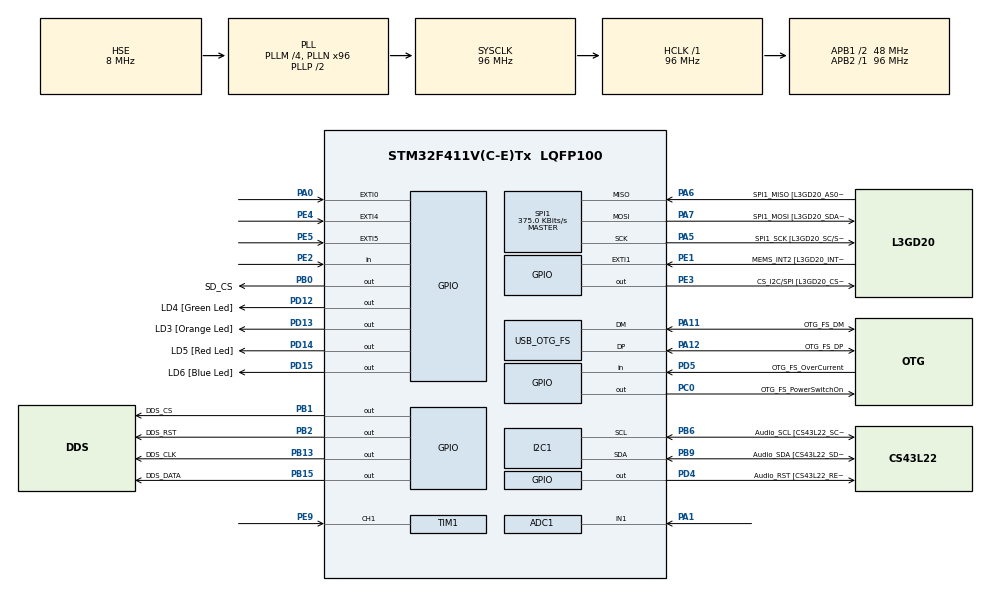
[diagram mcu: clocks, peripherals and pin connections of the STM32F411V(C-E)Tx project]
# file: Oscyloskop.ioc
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ADC1.Channel-2\#ChannelRegularConversion=ADC_CHANNEL_1
ADC1.ContinuousConvMode=ENABLE
ADC1.DMAContinuousRequests=ENABLE
ADC1.NbrOfConversionFlag=1
ADC1.Rank-2\#ChannelRegularConversion=1
ADC1.SamplingTime-2\#ChannelRegularConversion=ADC_SAMPLETIME_480CYCLES
ADC1.master=1
Dma.ADC1.0.Direction=DMA_PERIPH_TO_MEMORY
Dma.ADC1.0.FIFOMode=DMA_FIFOMODE_DISABLE
Dma.ADC1.0.Instance=DMA2_Stream0
Dma.ADC1.0.MemDataAlignment=DMA_MDATAALIGN_HALFWORD
Dma.ADC1.0.MemInc=DMA_MINC_ENABLE
Dma.ADC1.0.Mode=DMA_CIRCULAR
Dma.ADC1.0.PeriphDataAlignment=DMA_PDATAALIGN_HALFWORD
Dma.ADC1.0.PeriphInc=DMA_PINC_DISABLE
Dma.ADC1.0.Priority=DMA_PRIORITY_LOW
Dma.Request0=ADC1
Mcu.Family=STM32F4
Mcu.Name=STM32F411V(C-E)Tx
Mcu.Package=LQFP100
NVIC.DMA2_Stream0_IRQn=true\:0\:0\:false\:false\:true\:false\:true\:true
NVIC.OTG_FS_IRQn=true\:0\:0\:false\:false\:true\:false\:true\:true
NVIC.PriorityGroup=NVIC_PRIORITYGROUP_0
NVIC.TIM1_CC_IRQn=true\:0\:0\:false\:false\:true\:true\:true\:true
PA0-WKUP.GPIO_ModeDefaultEXTI=GPIO_MODE_EVT_RISING
PA0-WKUP.Signal=GPXTI0
PA1.Signal=ADCx_IN1
PA10.GPIO_Label=OTG_FS_ID
PA10.Signal=USB_OTG_FS_ID
PA11.GPIO_Label=OTG_FS_DM
PA11.Mode=Device_Only
PA11.Signal=USB_OTG_FS_DM
PA12.GPIO_Label=OTG_FS_DP
PA12.Mode=Device_Only
PA12.Signal=USB_OTG_FS_DP
PA13.GPIO_Label=SWDIO
PA13.Mode=Serial_Wire
PA13.Signal=SYS_JTMS-SWDIO
PA14.GPIO_Label=SWCLK
PA14.Mode=Serial_Wire
PA14.Signal=SYS_JTCK-SWCLK
PA4.GPIO_Label=I2S3_WS [CS43L22_LRCK]
PA4.GPIO_Mode=GPIO_MODE_AF_PP
PA4.GPIO_PuPd=GPIO_NOPULL
PA4.GPIO_Speed=GPIO_SPEED_FREQ_LOW
PA4.Signal=I2S3_WS
PA5.GPIO_Label=SPI1_SCK [L3GD20_SC/SPC]
PA5.Mode=Full_Duplex_Master
PA5.Signal=SPI1_SCK
PA6.GPIO_Label=SPI1_MISO [L3GD20_AS0/SDO]
PA6.Mode=Full_Duplex_Master
PA6.Signal=SPI1_MISO
PA7.GPIO_Label=SPI1_MOSI [L3GD20_SDA/SDI/SDO]
PA7.Mode=Full_Duplex_Master
PA7.Signal=SPI1_MOSI
PA9.GPIO_Label=VBUS_FS
PA9.Signal=USB_OTG_FS_VBUS
PB0.GPIO_Label=SD_CS
PB0.Signal=GPIO_Output
PB1.GPIO_Label=DDS_CS
PB1.Signal=GPIO_Output
PB10.GPIO_Label=CLK_IN [MP45DT02_CLK]
PB10.Signal=I2S2_CK
PB12.Signal=I2S2_WS
PB13.GPIO_Label=DDS_CLK
PB13.Signal=GPIO_Output
PB15.GPIO_Label=DDS_DATA
PB15.Signal=GPIO_Output
PB2.GPIO_Label=DDS_RST
PB2.Signal=GPIO_Output
PB3.GPIO_Label=SWO
PB3.Signal=SYS_JTDO-SWO
PB6.GPIO_Label=Audio_SCL [CS43L22_SCL]
PB6.GPIO_Mode=GPIO_MODE_AF_OD
PB6.GPIO_PuPd=GPIO_NOPULL
PB6.GPIO_Speed=GPIO_SPEED_FREQ_LOW
PB6.Mode=I2C
PB6.Signal=I2C1_SCL
PB9.GPIO_Label=Audio_SDA [CS43L22_SDA]
PB9.GPIO_Mode=GPIO_MODE_AF_OD
PB9.GPIO_PuPd=GPIO_NOPULL
PB9.GPIO_Speed=GPIO_SPEED_FREQ_LOW
PB9.Mode=I2C
PB9.Signal=I2C1_SDA
PC0.GPIO_Label=OTG_FS_PowerSwitchOn
PC0.PinState=GPIO_PIN_SET
PC0.Signal=GPIO_Output
PC10.GPIO_Label=I2S3_SCK [CS43L22_SCLK]
PC10.GPIO_Mode=GPIO_MODE_AF_PP
PC10.GPIO_PuPd=GPIO_NOPULL
PC10.GPIO_Speed=GPIO_SPEED_FREQ_LOW
PC10.Signal=I2S3_CK
PC12.GPIO_Label=I2S3_SD [CS43L22_SDIN]
PC12.GPIO_Mode=GPIO_MODE_AF_PP
PC12.GPIO_PuPd=GPIO_NOPULL
PC12.GPIO_Speed=GPIO_SPEED_FREQ_LOW
PC12.Signal=I2S3_SD
PC14-OSC32_IN.GPIO_Label=PC14-OSC32_IN
PC14-OSC32_IN.Signal=RCC_OSC32_IN
PC15-OSC32_OUT.GPIO_Label=PC15-OSC32_OUT
PC15-OSC32_OUT.Signal=RCC_OSC32_OUT
PC3.GPIO_Label=PDM_OUT [MP45DT02_DOUT]
PC3.Signal=I2S2_SD
PC7.GPIO_Label=I2S3_MCK [CS43L22_MCLK]
PC7.GPIO_Mode=GPIO_MODE_AF_PP
PC7.GPIO_PuPd=GPIO_NOPULL
PC7.GPIO_Speed=GPIO_SPEED_FREQ_LOW
PC7.Signal=I2S3_MCK
PD12.GPIO_Label=LD4 [Green Led]
PD12.GPIO_PuPd=GPIO_NOPULL
PD12.GPIO_Speed=GPIO_SPEED_FREQ_LOW
PD12.Signal=GPIO_Output
PD13.GPIO_Label=LD3 [Orange Led]
PD13.GPIO_PuPd=GPIO_NOPULL
PD13.GPIO_Speed=GPIO_SPEED_FREQ_LOW
PD13.Signal=GPIO_Output
PD14.GPIO_Label=LD5 [Red Led]
PD14.GPIO_PuPd=GPIO_NOPULL
PD14.GPIO_Speed=GPIO_SPEED_FREQ_LOW
PD14.Signal=GPIO_Output
PD15.GPIO_Label=LD6 [Blue Led]
PD15.GPIO_PuPd=GPIO_NOPULL
PD15.GPIO_Speed=GPIO_SPEED_FREQ_LOW
PD15.Signal=GPIO_Output
PD4.GPIO_Label=Audio_RST [CS43L22_RESET]
PD4.Signal=GPIO_Output
PD5.GPIO_Label=OTG_FS_OverCurrent
PD5.Signal=GPIO_Input
PE1.GPIO_Label=MEMS_INT2 [L3GD20_INT2]
PE1.GPIO_ModeDefaultEXTI=GPIO_MODE_EVT_RISING
PE1.Signal=GPXTI1
PE2.Signal=GPIO_Input
PE3.GPIO_Label=CS_I2C/SPI [L3GD20_CS_I2C/SPI]
PE3.Signal=GPIO_Output
PE4.GPIO_ModeDefaultEXTI=GPIO_MODE_EVT_RISING
PE4.Signal=GPXTI4
PE5.GPIO_ModeDefaultEXTI=GPIO_MODE_EVT_RISING
PE5.Signal=GPXTI5
PE9.Signal=S_TIM1_CH1
PH0\ -\ OSC_IN.GPIO_Label=PH0-OSC_IN
PH0\ -\ OSC_IN.Mode=HSE-External-Oscillator
PH0\ -\ OSC_IN.Signal=RCC_OSC_IN
PH1\ -\ OSC_OUT.GPIO_Label=PH1-OSC_OUT
PH1\ -\ OSC_OUT.Mode=HSE-External-Oscillator
PH1\ -\ OSC_OUT.Signal=RCC_OSC_OUT
ProjectManager.HeapSize=0x200
ProjectManager.StackSize=0x400
ProjectManager.TargetToolchain=STM32CubeIDE
RCC.48MHZClocksFreq_Value=48000000
RCC.AHBFreq_Value=96000000
RCC.APB1CLKDivider=RCC_HCLK_DIV2
RCC.APB1Freq_Value=48000000
RCC.APB1TimFreq_Value=96000000
RCC.APB2Freq_Value=96000000
RCC.APB2TimFreq_Value=96000000
RCC.CortexFreq_Value=96000000
RCC.HCLKFreq_Value=96000000
RCC.HSE_VALUE=8000000
RCC.HSI_VALUE=16000000
RCC.LSE_VALUE=32768
RCC.PLLI2SM=5
RCC.PLLI2SN=200
RCC.PLLM=4
RCC.PLLN=96
RCC.SYSCLKFreq_VALUE=96000000
RCC.SYSCLKSource=RCC_SYSCLKSOURCE_PLLCLK
RCC.VCOOutputFreq_Value=192000000
SH.ADCx_IN1.0=ADC1_IN1,IN1
SH.S_TIM1_CH1.0=TIM1_CH1,Input_Capture1_from_TI1
SPI1.BaudRatePrescaler=SPI_BAUDRATEPRESCALER_256
SPI1.CalculateBaudRate=375.0 KBits/s
SPI1.Direction=SPI_DIRECTION_2LINES
SPI1.Mode=SPI_MODE_MASTER
SPI1.VirtualType=VM_MASTER
TIM1.Channel-Input_Capture1_from_TI1=TIM_CHANNEL_1
TIM1.Prescaler=99
USB_DEVICE.CLASS_NAME_FS=CDC
USB_DEVICE.VirtualMode=Cdc
USB_DEVICE.VirtualModeFS=Cdc_FS
USB_OTG_FS.VirtualMode=Device_Only
VP_FATFS_VS_Generic.Mode=User_defined
VP_TIM1_VS_ClockSourceINT.Mode=Internal
VP_USB_DEVICE_VS_USB_DEVICE_CDC_FS.Mode=CDC_FS
board=STM32F411E-DISCO

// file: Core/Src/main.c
/* USER CODE BEGIN Header */
/**
  ******************************************************************************
  * @file           : main.c
  * @brief          : Main program body
  ******************************************************************************
  */
/* USER CODE END Header */
#include "main.h"
#include "fatfs.h"
#include "usb_device.h"

/* USER CODE BEGIN Includes */
#include "adc_dma.h"
#include "usbd_cdc_if.h"
#include "trigger.h"
#include "dds_ad9850.h"
#include "lcd_i2c.h"
#include <string.h>
#include <stdio.h>
#include <stdlib.h>
#include "fatfs.h"
/* USER CODE END Includes */

ADC_HandleTypeDef hadc1;
DMA_HandleTypeDef hdma_adc1;

I2C_HandleTypeDef hi2c1;

SPI_HandleTypeDef hspi1;

TIM_HandleTypeDef htim1;

/* USER CODE BEGIN PV */
Trigger_t trigger;
uint8_t gui_polaczone = 0;
float aktualna_freq = 1000.0f;
uint8_t aktualny_typ = 0;
volatile uint8_t single_mode = 0;     // 1 = single, 0 = ciągły
volatile uint8_t single_zatrzasniety = 0;  // 1 = już złapaliśmy, czekamy na Run
FATFS fs;          // system plików
FIL fil;           // uchwyt pliku
FRESULT fres;      // wynik operacji
char sd_bufor[64]; // bufor pomocniczy
/* USER CODE END PV */

void SystemClock_Config(void);
static void MX_GPIO_Init(void);
static void MX_DMA_Init(void);
static void MX_ADC1_Init(void);
static void MX_I2C1_Init(void);
static void MX_TIM1_Init(void);
static void MX_SPI1_Init(void);

int main(void)
{

  /* MCU Configuration--------------------------------------------------------*/

  /* Reset of all peripherals, Initializes the Flash interface and the Systick. */
  HAL_Init();

  /* Configure the system clock */
  SystemClock_Config();

  /* Initialize all configured peripherals */
  MX_GPIO_Init();
  MX_DMA_Init();
  MX_ADC1_Init();
  MX_USB_DEVICE_Init();
  MX_I2C1_Init();
  MX_TIM1_Init();
  MX_FATFS_Init();
  MX_SPI1_Init();
  /* USER CODE BEGIN 2 */
  Trigger_Init(&trigger, TRIG_NONE, 0);
  HAL_Delay(500);
  DDS_Init();
  DDS_SetFrequency(1000.0f, 0);
  LCD_Init();
  LCD_SetCursor(0, 0);
  LCD_Print("Oscyloskop STM");
  LCD_SetCursor(1, 0);
  LCD_Print("Wlacz gui     ");
  HAL_GPIO_WritePin(GPIOD, GPIO_PIN_12, GPIO_PIN_SET);
  HAL_Delay(2000);
  ADC_DMA_Start();
  /* USER CODE END 2 */

  /* Infinite loop */
  /* USER CODE BEGIN WHILE */
  while (1)
      {
        if (flaga_polowa) ADC_DMA_Przetworz_Polowe();
        if (flaga_pelny) ADC_DMA_Przetworz_Pelny();

        if (komenda_gotowa)
        {
            // HELLO - GUI się łączy
            if (komenda_bufor[0] == 'H' && komenda_bufor[1] == 'E' &&
                komenda_bufor[2] == 'L' && komenda_bufor[3] == 'L' &&
                komenda_bufor[4] == 'O')
            {
                if (!gui_polaczone)
                {
                    gui_polaczone = 1;
                    LCD_Clear();
                    LCD_SetCursor(0, 0);
                    LCD_Print("F:1000Hz SIN");
                    LCD_SetCursor(1, 0);
                    LCD_Print("GUI polaczone");
                }
            }

            // FREQ:1000 - ustaw częstotliwość
            if (komenda_bufor[0] == 'F' && komenda_bufor[1] == 'R' &&
                komenda_bufor[2] == 'E' && komenda_bufor[3] == 'Q' &&
                komenda_bufor[4] == ':')
            {
                aktualna_freq = atof((char*)&komenda_bufor[5]);
                DDS_SetFrequency(aktualna_freq, aktualny_typ);

                char bufor_lcd[17];
                char* typ_str = (aktualny_typ == 0) ? "SIN" : "SQR";
                snprintf(bufor_lcd, 17, "F:%dHz %s   ", (int)aktualna_freq, typ_str);
                LCD_SetCursor(0, 0);
                LCD_Print(bufor_lcd);
            }

            // WAVE:0/1 - typ fali
            if (komenda_bufor[0] == 'W' && komenda_bufor[1] == 'A' &&
                komenda_bufor[2] == 'V' && komenda_bufor[3] == 'E' &&
                komenda_bufor[4] == ':')
            {
                aktualny_typ = komenda_bufor[5] - '0';
                DDS_SetFrequency(aktualna_freq, aktualny_typ);

                char bufor_lcd[17];
                char* typ_str = (aktualny_typ == 0) ? "SIN" : "SQR";
                snprintf(bufor_lcd, 17, "F:%dHz %s   ", (int)aktualna_freq, typ_str);
                LCD_SetCursor(0, 0);
                LCD_Print(bufor_lcd);
            }

            // TRIG:N / TRIG:R:2048 / TRIG:F:2048
            if (komenda_bufor[0] == 'T' && komenda_bufor[1] == 'R' &&
                komenda_bufor[2] == 'I' && komenda_bufor[3] == 'G' &&
                komenda_bufor[4] == ':')
            {
                if (komenda_bufor[5] == 'N')
                    Trigger_Init(&trigger, TRIG_NONE, 0);
                else if (komenda_bufor[5] == 'R' && komenda_bufor[6] == ':')
                    Trigger_Init(&trigger, TRIG_RISING, atoi((char*)&komenda_bufor[7]));
                else if (komenda_bufor[5] == 'F' && komenda_bufor[6] == ':')
                    Trigger_Init(&trigger, TRIG_FALLING, atoi((char*)&komenda_bufor[7]));
            }

            // BYE - GUI się rozłącza
            if (komenda_bufor[0] == 'B' && komenda_bufor[1] == 'Y' && komenda_bufor[2] == 'E')
            {
                gui_polaczone = 0;
                LCD_Clear();
                LCD_SetCursor(0, 0);
                LCD_Print("Oscyloskop STM");
                LCD_SetCursor(1, 0);
                LCD_Print("Rozlaczono");
            }

            // SAVE - zapisz próbki ADC na kartę SD
            if (komenda_bufor[0] == 'S' && komenda_bufor[1] == 'A' &&
                komenda_bufor[2] == 'V' && komenda_bufor[3] == 'E')
            {
                LCD_Clear();
                LCD_SetCursor(0, 0);
                LCD_Print("Zapisywanie...");
                LCD_SetCursor(1, 0);
                LCD_Print("Czekaj..");

                fres = f_mount(&fs, "", 1);
                if (fres == FR_OK)
                {
                    fres = f_open(&fil, "probki.csv", FA_CREATE_ALWAYS | FA_WRITE);
                    if (fres == FR_OK)
                    {
                        f_puts("# Probki ADC z oscyloskopu STM32\n", &fil);
                        f_puts("wartosc\n", &fil);

                        for (uint16_t i = 0; i < ADC_BUFOR_ROZMIAR; i++)
                        {
                            snprintf(sd_bufor, 64, "%u\n", bufor_adc[i]);
                            f_puts(sd_bufor, &fil);
                        }

                        f_close(&fil);

                        LCD_Clear();
                        LCD_SetCursor(0, 0);
                        LCD_Print("Zapis OK!");
                        LCD_SetCursor(1, 0);
                        LCD_Print("probki.csv");
                        HAL_Delay(2000);

                        char* typ_str = (aktualny_typ == 0) ? "SIN" : "SQR";
                        snprintf(sd_bufor, 17, "F:%dHz %s   ", (int)aktualna_freq, typ_str);
                        LCD_Clear();
                        LCD_SetCursor(0, 0);
                        LCD_Print(sd_bufor);
                        LCD_SetCursor(1, 0);
                        LCD_Print("GUI polaczone");
                    }
                    else
                    {
                        LCD_Clear();
                        LCD_SetCursor(0, 0);
                        LCD_Print("Blad otwarcia");
                        LCD_SetCursor(1, 0);
                        snprintf(sd_bufor, 17, "pliku (kod %d)", fres);
                        LCD_Print(sd_bufor);
                    }
                    f_mount(NULL, "", 0);
                }
                else
                {
                    LCD_Clear();
                    LCD_SetCursor(0, 0);
                    LCD_Print("Blad karty SD");
                    LCD_SetCursor(1, 0);
                    snprintf(sd_bufor, 17, "kod: %d", fres);
                    LCD_Print(sd_bufor);
                }
            }

            komenda_gotowa = 0;
        }
    /* USER CODE END WHILE */

      }
}

void SystemClock_Config(void)
{
  RCC_OscInitTypeDef RCC_OscInitStruct = {0};
  RCC_ClkInitTypeDef RCC_ClkInitStruct = {0};

  /** Configure the main internal regulator output voltage
  */
  __HAL_RCC_PWR_CLK_ENABLE();
  __HAL_PWR_VOLTAGESCALING_CONFIG(PWR_REGULATOR_VOLTAGE_SCALE1);

  /** Initializes the RCC Oscillators according to the specified parameters
  * in the RCC_OscInitTypeDef structure.
  */
  RCC_OscInitStruct.OscillatorType = RCC_OSCILLATORTYPE_HSE;
  RCC_OscInitStruct.HSEState = RCC_HSE_ON;
  RCC_OscInitStruct.PLL.PLLState = RCC_PLL_ON;
  RCC_OscInitStruct.PLL.PLLSource = RCC_PLLSOURCE_HSE;
  RCC_OscInitStruct.PLL.PLLM = 4;
  RCC_OscInitStruct.PLL.PLLN = 96;
  RCC_OscInitStruct.PLL.PLLP = RCC_PLLP_DIV2;
  RCC_OscInitStruct.PLL.PLLQ = 4;
  if (HAL_RCC_OscConfig(&RCC_OscInitStruct) != HAL_OK)
  {
    Error_Handler();
  }

  /** Initializes the CPU, AHB and APB buses clocks
  */
  RCC_ClkInitStruct.ClockType = RCC_CLOCKTYPE_HCLK|RCC_CLOCKTYPE_SYSCLK
                              |RCC_CLOCKTYPE_PCLK1|RCC_CLOCKTYPE_PCLK2;
  RCC_ClkInitStruct.SYSCLKSource = RCC_SYSCLKSOURCE_PLLCLK;
  RCC_ClkInitStruct.AHBCLKDivider = RCC_SYSCLK_DIV1;
  RCC_ClkInitStruct.APB1CLKDivider = RCC_HCLK_DIV2;
  RCC_ClkInitStruct.APB2CLKDivider = RCC_HCLK_DIV1;

  if (HAL_RCC_ClockConfig(&RCC_ClkInitStruct, FLASH_LATENCY_3) != HAL_OK)
  {
    Error_Handler();
  }
}

static void MX_ADC1_Init(void)
{

  ADC_ChannelConfTypeDef sConfig = {0};

  /** Configure the global features of the ADC (Clock, Resolution, Data Alignment and number of conversion)
  */
  hadc1.Instance = ADC1;
  hadc1.Init.ClockPrescaler = ADC_CLOCK_SYNC_PCLK_DIV4;
  hadc1.Init.Resolution = ADC_RESOLUTION_12B;
  hadc1.Init.ScanConvMode = DISABLE;
  hadc1.Init.ContinuousConvMode = ENABLE;
  hadc1.Init.DiscontinuousConvMode = DISABLE;
  hadc1.Init.ExternalTrigConvEdge = ADC_EXTERNALTRIGCONVEDGE_NONE;
  hadc1.Init.ExternalTrigConv = ADC_SOFTWARE_START;
  hadc1.Init.DataAlign = ADC_DATAALIGN_RIGHT;
  hadc1.Init.NbrOfConversion = 1;
  hadc1.Init.DMAContinuousRequests = ENABLE;
  hadc1.Init.EOCSelection = ADC_EOC_SINGLE_CONV;
  if (HAL_ADC_Init(&hadc1) != HAL_OK)
  {
    Error_Handler();
  }

  /** Configure for the selected ADC regular channel its corresponding rank in the sequencer and its sample time.
  */
  sConfig.Channel = ADC_CHANNEL_1;
  sConfig.Rank = 1;
  sConfig.SamplingTime = ADC_SAMPLETIME_480CYCLES;
  if (HAL_ADC_ConfigChannel(&hadc1, &sConfig) != HAL_OK)
  {
    Error_Handler();
  }

}

static void MX_I2C1_Init(void)
{

  hi2c1.Instance = I2C1;
  hi2c1.Init.ClockSpeed = 100000;
  hi2c1.Init.DutyCycle = I2C_DUTYCYCLE_2;
  hi2c1.Init.OwnAddress1 = 0;
  hi2c1.Init.AddressingMode = I2C_ADDRESSINGMODE_7BIT;
  hi2c1.Init.DualAddressMode = I2C_DUALADDRESS_DISABLE;
  hi2c1.Init.OwnAddress2 = 0;
  hi2c1.Init.GeneralCallMode = I2C_GENERALCALL_DISABLE;
  hi2c1.Init.NoStretchMode = I2C_NOSTRETCH_DISABLE;
  if (HAL_I2C_Init(&hi2c1) != HAL_OK)
  {
    Error_Handler();
  }

}

static void MX_SPI1_Init(void)
{

  /* SPI1 parameter configuration*/
  hspi1.Instance = SPI1;
  hspi1.Init.Mode = SPI_MODE_MASTER;
  hspi1.Init.Direction = SPI_DIRECTION_2LINES;
  hspi1.Init.DataSize = SPI_DATASIZE_8BIT;
  hspi1.Init.CLKPolarity = SPI_POLARITY_LOW;
  hspi1.Init.CLKPhase = SPI_PHASE_1EDGE;
  hspi1.Init.NSS = SPI_NSS_SOFT;
  hspi1.Init.BaudRatePrescaler = SPI_BAUDRATEPRESCALER_256;
  hspi1.Init.FirstBit = SPI_FIRSTBIT_MSB;
  hspi1.Init.TIMode = SPI_TIMODE_DISABLE;
  hspi1.Init.CRCCalculation = SPI_CRCCALCULATION_DISABLE;
  hspi1.Init.CRCPolynomial = 10;
  if (HAL_SPI_Init(&hspi1) != HAL_OK)
  {
    Error_Handler();
  }

}

static void MX_TIM1_Init(void)
{

  TIM_ClockConfigTypeDef sClockSourceConfig = {0};
  TIM_MasterConfigTypeDef sMasterConfig = {0};
  TIM_IC_InitTypeDef sConfigIC = {0};

  htim1.Instance = TIM1;
  htim1.Init.Prescaler = 99;
  htim1.Init.CounterMode = TIM_COUNTERMODE_UP;
  htim1.Init.Period = 65535;
  htim1.Init.ClockDivision = TIM_CLOCKDIVISION_DIV1;
  htim1.Init.RepetitionCounter = 0;
  htim1.Init.AutoReloadPreload = TIM_AUTORELOAD_PRELOAD_DISABLE;
  if (HAL_TIM_Base_Init(&htim1) != HAL_OK)
  {
    Error_Handler();
  }
  sClockSourceConfig.ClockSource = TIM_CLOCKSOURCE_INTERNAL;
  if (HAL_TIM_ConfigClockSource(&htim1, &sClockSourceConfig) != HAL_OK)
  {
    Error_Handler();
  }
  if (HAL_TIM_IC_Init(&htim1) != HAL_OK)
  {
    Error_Handler();
  }
  sMasterConfig.MasterOutputTrigger = TIM_TRGO_RESET;
  sMasterConfig.MasterSlaveMode = TIM_MASTERSLAVEMODE_DISABLE;
  if (HAL_TIMEx_MasterConfigSynchronization(&htim1, &sMasterConfig) != HAL_OK)
  {
    Error_Handler();
  }
  sConfigIC.ICPolarity = TIM_INPUTCHANNELPOLARITY_RISING;
  sConfigIC.ICSelection = TIM_ICSELECTION_DIRECTTI;
  sConfigIC.ICPrescaler = TIM_ICPSC_DIV1;
  sConfigIC.ICFilter = 0;
  if (HAL_TIM_IC_ConfigChannel(&htim1, &sConfigIC, TIM_CHANNEL_1) != HAL_OK)
  {
    Error_Handler();
  }

}

static void MX_DMA_Init(void)
{

  /* DMA controller clock enable */
  __HAL_RCC_DMA2_CLK_ENABLE();

  /* DMA interrupt init */
  /* DMA2_Stream0_IRQn interrupt configuration */
  HAL_NVIC_SetPriority(DMA2_Stream0_IRQn, 0, 0);
  HAL_NVIC_EnableIRQ(DMA2_Stream0_IRQn);

}

static void MX_GPIO_Init(void)
{
  GPIO_InitTypeDef GPIO_InitStruct = {0};

  /* GPIO Ports Clock Enable */
  __HAL_RCC_GPIOE_CLK_ENABLE();
  __HAL_RCC_GPIOC_CLK_ENABLE();
  __HAL_RCC_GPIOH_CLK_ENABLE();
  __HAL_RCC_GPIOA_CLK_ENABLE();
  __HAL_RCC_GPIOB_CLK_ENABLE();
  __HAL_RCC_GPIOD_CLK_ENABLE();

  /*Configure GPIO pin Output Level */
  HAL_GPIO_WritePin(CS_I2C_SPI_GPIO_Port, CS_I2C_SPI_Pin, GPIO_PIN_RESET);

  /*Configure GPIO pin Output Level */
  HAL_GPIO_WritePin(OTG_FS_PowerSwitchOn_GPIO_Port, OTG_FS_PowerSwitchOn_Pin, GPIO_PIN_SET);

  /*Configure GPIO pin Output Level */
  HAL_GPIO_WritePin(GPIOB, SD_CS_Pin|DDS_CS_Pin|DDS_RST_Pin|DDS_CLK_Pin
                          |DDS_DATA_Pin, GPIO_PIN_RESET);

  /*Configure GPIO pin Output Level */
  HAL_GPIO_WritePin(GPIOD, LD4_Pin|LD3_Pin|LD5_Pin|LD6_Pin
                          |Audio_RST_Pin, GPIO_PIN_RESET);

  /*Configure GPIO pin : PE2 */
  GPIO_InitStruct.Pin = GPIO_PIN_2;
  GPIO_InitStruct.Mode = GPIO_MODE_INPUT;
  GPIO_InitStruct.Pull = GPIO_NOPULL;
  HAL_GPIO_Init(GPIOE, &GPIO_InitStruct);

  /*Configure GPIO pin : CS_I2C_SPI_Pin */
  GPIO_InitStruct.Pin = CS_I2C_SPI_Pin;
  GPIO_InitStruct.Mode = GPIO_MODE_OUTPUT_PP;
  GPIO_InitStruct.Pull = GPIO_NOPULL;
  GPIO_InitStruct.Speed = GPIO_SPEED_FREQ_LOW;
  HAL_GPIO_Init(CS_I2C_SPI_GPIO_Port, &GPIO_InitStruct);

  /*Configure GPIO pins : PE4 PE5 MEMS_INT2_Pin */
  GPIO_InitStruct.Pin = GPIO_PIN_4|GPIO_PIN_5|MEMS_INT2_Pin;
  GPIO_InitStruct.Mode = GPIO_MODE_EVT_RISING;
  GPIO_InitStruct.Pull = GPIO_NOPULL;
  HAL_GPIO_Init(GPIOE, &GPIO_InitStruct);

  /*Configure GPIO pin : OTG_FS_PowerSwitchOn_Pin */
  GPIO_InitStruct.Pin = OTG_FS_PowerSwitchOn_Pin;
  GPIO_InitStruct.Mode = GPIO_MODE_OUTPUT_PP;
  GPIO_InitStruct.Pull = GPIO_NOPULL;
  GPIO_InitStruct.Speed = GPIO_SPEED_FREQ_LOW;
  HAL_GPIO_Init(OTG_FS_PowerSwitchOn_GPIO_Port, &GPIO_InitStruct);

  /*Configure GPIO pin : PDM_OUT_Pin */
  GPIO_InitStruct.Pin = PDM_OUT_Pin;
  GPIO_InitStruct.Mode = GPIO_MODE_AF_PP;
  GPIO_InitStruct.Pull = GPIO_NOPULL;
  GPIO_InitStruct.Speed = GPIO_SPEED_FREQ_LOW;
  GPIO_InitStruct.Alternate = GPIO_AF5_SPI2;
  HAL_GPIO_Init(PDM_OUT_GPIO_Port, &GPIO_InitStruct);

  /*Configure GPIO pin : PA0 */
  GPIO_InitStruct.Pin = GPIO_PIN_0;
  GPIO_InitStruct.Mode = GPIO_MODE_EVT_RISING;
  GPIO_InitStruct.Pull = GPIO_NOPULL;
  HAL_GPIO_Init(GPIOA, &GPIO_InitStruct);

  /*Configure GPIO pin : I2S3_WS_Pin */
  GPIO_InitStruct.Pin = I2S3_WS_Pin;
  GPIO_InitStruct.Mode = GPIO_MODE_AF_PP;
  GPIO_InitStruct.Pull = GPIO_NOPULL;
  GPIO_InitStruct.Speed = GPIO_SPEED_FREQ_LOW;
  GPIO_InitStruct.Alternate = GPIO_AF6_SPI3;
  HAL_GPIO_Init(I2S3_WS_GPIO_Port, &GPIO_InitStruct);

  /*Configure GPIO pins : SD_CS_Pin DDS_CS_Pin DDS_RST_Pin DDS_CLK_Pin
                           DDS_DATA_Pin */
  GPIO_InitStruct.Pin = SD_CS_Pin|DDS_CS_Pin|DDS_RST_Pin|DDS_CLK_Pin
                          |DDS_DATA_Pin;
  GPIO_InitStruct.Mode = GPIO_MODE_OUTPUT_PP;
  GPIO_InitStruct.Pull = GPIO_NOPULL;
  GPIO_InitStruct.Speed = GPIO_SPEED_FREQ_LOW;
  HAL_GPIO_Init(GPIOB, &GPIO_InitStruct);

  /*Configure GPIO pins : CLK_IN_Pin PB12 */
  GPIO_InitStruct.Pin = CLK_IN_Pin|GPIO_PIN_12;
  GPIO_InitStruct.Mode = GPIO_MODE_AF_PP;
  GPIO_InitStruct.Pull = GPIO_NOPULL;
  GPIO_InitStruct.Speed = GPIO_SPEED_FREQ_LOW;
  GPIO_InitStruct.Alternate = GPIO_AF5_SPI2;
  HAL_GPIO_Init(GPIOB, &GPIO_InitStruct);

  /*Configure GPIO pins : LD4_Pin LD3_Pin LD5_Pin LD6_Pin
                           Audio_RST_Pin */
  GPIO_InitStruct.Pin = LD4_Pin|LD3_Pin|LD5_Pin|LD6_Pin
                          |Audio_RST_Pin;
  GPIO_InitStruct.Mode = GPIO_MODE_OUTPUT_PP;
  GPIO_InitStruct.Pull = GPIO_NOPULL;
  GPIO_InitStruct.Speed = GPIO_SPEED_FREQ_LOW;
  HAL_GPIO_Init(GPIOD, &GPIO_InitStruct);

  /*Configure GPIO pins : I2S3_MCK_Pin I2S3_SCK_Pin I2S3_SD_Pin */
  GPIO_InitStruct.Pin = I2S3_MCK_Pin|I2S3_SCK_Pin|I2S3_SD_Pin;
  GPIO_InitStruct.Mode = GPIO_MODE_AF_PP;
  GPIO_InitStruct.Pull = GPIO_NOPULL;
  GPIO_InitStruct.Speed = GPIO_SPEED_FREQ_LOW;
  GPIO_InitStruct.Alternate = GPIO_AF6_SPI3;
  HAL_GPIO_Init(GPIOC, &GPIO_InitStruct);

  /*Configure GPIO pin : OTG_FS_OverCurrent_Pin */
  GPIO_InitStruct.Pin = OTG_FS_OverCurrent_Pin;
  GPIO_InitStruct.Mode = GPIO_MODE_INPUT;
  GPIO_InitStruct.Pull = GPIO_NOPULL;
  HAL_GPIO_Init(OTG_FS_OverCurrent_GPIO_Port, &GPIO_InitStruct);

}

void Error_Handler(void)
{
  __disable_irq();
  while (1)
  {
  }
}
